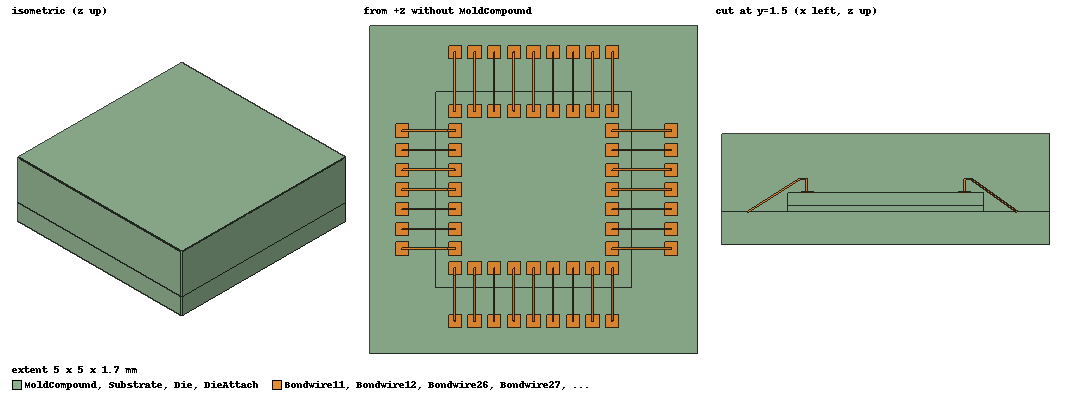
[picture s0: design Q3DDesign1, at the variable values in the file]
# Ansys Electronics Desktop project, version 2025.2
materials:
  vacuum: permittivity=1
  copper: permeability=0.999991 conductivity=58000000
  silicon: permittivity=11.9
  FR4_epoxy: permittivity=4.4 dielectric_loss_tangent=0.02
  modified_epoxy: permittivity=4.2 dielectric_loss_tangent=0.02
  gold: permeability=0.99996 conductivity=41000000
  epoxy_Kevlar_xy: permittivity=3.6

design Q3DDesign1 (Q3D Extractor, model units mm)
options: SParamCalcMethod=EqTransLine Calculate_Lossy_Dielectrics
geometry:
  Die [silicon] = rectangle(corner=(0mm, 0mm, 0mm), x_size=3mm, y_size=3mm)
  Die.thicken(0.2mm)
  Substrate [FR4_epoxy] = rectangle(corner=(-1mm, -1mm, -0.1mm), x_size=5mm, y_size=5mm)
  Substrate.thicken(-0.5mm)
  DieAttach [modified_epoxy] = rectangle(corner=(0mm, 0mm, 0mm), x_size=3mm, y_size=3mm)
  DieAttach.thicken(-0.1mm)
  Diebondpad1 [copper] = rectangle(corner=(0.2mm, 0.2mm, 0.2mm), x_size=0.2mm, y_size=0.2mm)
  Diebondpad1.thicken(0.005mm)
  Substratebondpad1 [copper] = rectangle(corner=(0.2mm, -0.6mm, -0.1mm), x_size=0.2mm, y_size=0.2mm)
  Substratebondpad1.thicken(0.005mm)
  Bondwire1 [gold] = bondwire(WireType=JEDEC_4Points WireDiameter=0.025mm NumSides=6 XPadPos=0.3mm YPadPos=0.3mm ZPadPos=0.205mm XDir=0mm YDir=-0.8mm ZDir=0mm Distance=0.8mm h1=0.2mm h2=0.3mm alpha=80deg beta=0 WhichAxis=Z)
  Diebondpad2 [copper] = rectangle(corner=(0.5mm, 0.2mm, 0.2mm), x_size=0.2mm, y_size=0.2mm)
  Diebondpad2.thicken(0.005mm)
  Diebondpad3 [copper] = rectangle(corner=(0.8mm, 0.2mm, 0.2mm), x_size=0.2mm, y_size=0.2mm)
  Diebondpad3.thicken(0.005mm)
  Diebondpad4 [copper] = rectangle(corner=(1.1mm, 0.2mm, 0.2mm), x_size=0.2mm, y_size=0.2mm)
  Diebondpad4.thicken(0.005mm)
  Diebondpad5 [copper] = rectangle(corner=(1.4mm, 0.2mm, 0.2mm), x_size=0.2mm, y_size=0.2mm)
  Diebondpad5.thicken(0.005mm)
  Diebondpad6 [copper] = rectangle(corner=(1.7mm, 0.2mm, 0.2mm), x_size=0.2mm, y_size=0.2mm)
  Diebondpad6.thicken(0.005mm)
  Diebondpad7 [copper] = rectangle(corner=(2mm, 0.2mm, 0.2mm), x_size=0.2mm, y_size=0.2mm)
  Diebondpad7.thicken(0.005mm)
  Diebondpad8 [copper] = rectangle(corner=(2.3mm, 0.2mm, 0.2mm), x_size=0.2mm, y_size=0.2mm)
  Diebondpad8.thicken(0.005mm)
  Diebondpad9 [copper] = rectangle(corner=(2.6mm, 0.2mm, 0.2mm), x_size=0.2mm, y_size=0.2mm)
  Diebondpad9.thicken(0.005mm)
  Substratebondpad2 [copper] = rectangle(corner=(0.5mm, -0.6mm, -0.1mm), x_size=0.2mm, y_size=0.2mm)
  Substratebondpad2.thicken(0.005mm)
  Substratebondpad3 [copper] = rectangle(corner=(0.8mm, -0.6mm, -0.1mm), x_size=0.2mm, y_size=0.2mm)
  Substratebondpad3.thicken(0.005mm)
  Substratebondpad4 [copper] = rectangle(corner=(1.1mm, -0.6mm, -0.1mm), x_size=0.2mm, y_size=0.2mm)
  Substratebondpad4.thicken(0.005mm)
  Substratebondpad5 [copper] = rectangle(corner=(1.4mm, -0.6mm, -0.1mm), x_size=0.2mm, y_size=0.2mm)
  Substratebondpad5.thicken(0.005mm)
  Substratebondpad6 [copper] = rectangle(corner=(1.7mm, -0.6mm, -0.1mm), x_size=0.2mm, y_size=0.2mm)
  Substratebondpad6.thicken(0.005mm)
  Substratebondpad7 [copper] = rectangle(corner=(2mm, -0.6mm, -0.1mm), x_size=0.2mm, y_size=0.2mm)
  Substratebondpad7.thicken(0.005mm)
  Substratebondpad8 [copper] = rectangle(corner=(2.3mm, -0.6mm, -0.1mm), x_size=0.2mm, y_size=0.2mm)
  Substratebondpad8.thicken(0.005mm)
  Substratebondpad9 [copper] = rectangle(corner=(2.6mm, -0.6mm, -0.1mm), x_size=0.2mm, y_size=0.2mm)
  Substratebondpad9.thicken(0.005mm)
  Bondwire2 [gold] = bondwire(WireType=JEDEC_4Points WireDiameter=0.025mm NumSides=6 XPadPos=0.6mm YPadPos=0.3mm ZPadPos=0.205mm XDir=0mm YDir=-0.8mm ZDir=0mm Distance=0.8mm h1=0.2mm h2=0.3mm alpha=80deg beta=0 WhichAxis=Z)
  Bondwire3 [gold] = bondwire(WireType=JEDEC_4Points WireDiameter=0.025mm NumSides=6 XPadPos=0.9mm YPadPos=0.3mm ZPadPos=0.205mm XDir=0mm YDir=-0.8mm ZDir=0mm Distance=0.8mm h1=0.2mm h2=0.3mm alpha=80deg beta=0 WhichAxis=Z)
  Bondwire4 [gold] = bondwire(WireType=JEDEC_4Points WireDiameter=0.025mm NumSides=6 XPadPos=1.2mm YPadPos=0.3mm ZPadPos=0.205mm XDir=0mm YDir=-0.8mm ZDir=0mm Distance=0.8mm h1=0.2mm h2=0.3mm alpha=80deg beta=0 WhichAxis=Z)
  Bondwire5 [gold] = bondwire(WireType=JEDEC_4Points WireDiameter=0.025mm NumSides=6 XPadPos=1.5mm YPadPos=0.3mm ZPadPos=0.205mm XDir=0mm YDir=-0.8mm ZDir=0mm Distance=0.8mm h1=0.2mm h2=0.3mm alpha=80deg beta=0 WhichAxis=Z)
  Bondwire6 [gold] = bondwire(WireType=JEDEC_4Points WireDiameter=0.025mm NumSides=6 XPadPos=1.8mm YPadPos=0.3mm ZPadPos=0.205mm XDir=0mm YDir=-0.8mm ZDir=0mm Distance=0.8mm h1=0.2mm h2=0.3mm alpha=80deg beta=0 WhichAxis=Z)
  Bondwire7 [gold] = bondwire(WireType=JEDEC_4Points WireDiameter=0.025mm NumSides=6 XPadPos=2.1mm YPadPos=0.3mm ZPadPos=0.205mm XDir=0mm YDir=-0.8mm ZDir=0mm Distance=0.8mm h1=0.2mm h2=0.3mm alpha=80deg beta=0 WhichAxis=Z)
  Bondwire8 [gold] = bondwire(WireType=JEDEC_4Points WireDiameter=0.025mm NumSides=6 XPadPos=2.4mm YPadPos=0.3mm ZPadPos=0.205mm XDir=0mm YDir=-0.8mm ZDir=0mm Distance=0.8mm h1=0.2mm h2=0.3mm alpha=80deg beta=0 WhichAxis=Z)
  Bondwire9 [gold] = bondwire(WireType=JEDEC_4Points WireDiameter=0.025mm NumSides=6 XPadPos=2.7mm YPadPos=0.3mm ZPadPos=0.205mm XDir=0mm YDir=-0.8mm ZDir=0mm Distance=0.8mm h1=0.2mm h2=0.3mm alpha=80deg beta=0 WhichAxis=Z)
  Diebondpad10 [copper] = rectangle(corner=(0.2mm, 0.5mm, 0.2mm), x_size=0.2mm, y_size=0.2mm)
  Diebondpad10.thicken(0.005mm)
  Diebondpad11 [copper] = rectangle(corner=(0.2mm, 0.8mm, 0.2mm), x_size=0.2mm, y_size=0.2mm)
  Diebondpad11.thicken(0.005mm)
  Diebondpad12 [copper] = rectangle(corner=(0.2mm, 1.1mm, 0.2mm), x_size=0.2mm, y_size=0.2mm)
  Diebondpad12.thicken(0.005mm)
  Diebondpad13 [copper] = rectangle(corner=(0.2mm, 1.4mm, 0.2mm), x_size=0.2mm, y_size=0.2mm)
  Diebondpad13.thicken(0.005mm)
  Diebondpad14 [copper] = rectangle(corner=(0.2mm, 1.7mm, 0.2mm), x_size=0.2mm, y_size=0.2mm)
  Diebondpad14.thicken(0.005mm)
  Diebondpad15 [copper] = rectangle(corner=(0.2mm, 2mm, 0.2mm), x_size=0.2mm, y_size=0.2mm)
  Diebondpad15.thicken(0.005mm)
  Diebondpad16 [copper] = rectangle(corner=(0.2mm, 2.3mm, 0.2mm), x_size=0.2mm, y_size=0.2mm)
  Diebondpad16.thicken(0.005mm)
  Diebondpad17 [copper] = rectangle(corner=(0.2mm, 2.6mm, 0.2mm), x_size=0.2mm, y_size=0.2mm)
  Diebondpad17.thicken(0.005mm)
  Diebondpad18 [copper] = rectangle(corner=(0.5mm, 2.6mm, 0.2mm), x_size=0.2mm, y_size=0.2mm)
  Diebondpad18.thicken(0.005mm)
  Diebondpad19 [copper] = rectangle(corner=(0.8mm, 2.6mm, 0.2mm), x_size=0.2mm, y_size=0.2mm)
  Diebondpad19.thicken(0.005mm)
  Diebondpad20 [copper] = rectangle(corner=(1.1mm, 2.6mm, 0.2mm), x_size=0.2mm, y_size=0.2mm)
  Diebondpad20.thicken(0.005mm)
  Diebondpad21 [copper] = rectangle(corner=(1.4mm, 2.6mm, 0.2mm), x_size=0.2mm, y_size=0.2mm)
  Diebondpad21.thicken(0.005mm)
  Diebondpad22 [copper] = rectangle(corner=(1.7mm, 2.6mm, 0.2mm), x_size=0.2mm, y_size=0.2mm)
  Diebondpad22.thicken(0.005mm)
  Diebondpad23 [copper] = rectangle(corner=(2mm, 2.6mm, 0.2mm), x_size=0.2mm, y_size=0.2mm)
  Diebondpad23.thicken(0.005mm)
  Diebondpad24 [copper] = rectangle(corner=(2.3mm, 2.6mm, 0.2mm), x_size=0.2mm, y_size=0.2mm)
  Diebondpad24.thicken(0.005mm)
  Diebondpad25 [copper] = rectangle(corner=(2.6mm, 2.6mm, 0.2mm), x_size=0.2mm, y_size=0.2mm)
  Diebondpad25.thicken(0.005mm)
  Diebondpad26 [copper] = rectangle(corner=(2.6mm, 2.3mm, 0.2mm), x_size=0.2mm, y_size=0.2mm)
  Diebondpad26.thicken(0.005mm)
  Diebondpad27 [copper] = rectangle(corner=(2.6mm, 2mm, 0.2mm), x_size=0.2mm, y_size=0.2mm)
  Diebondpad27.thicken(0.005mm)
  Diebondpad28 [copper] = rectangle(corner=(2.6mm, 1.7mm, 0.2mm), x_size=0.2mm, y_size=0.2mm)
  Diebondpad28.thicken(0.005mm)
  Diebondpad29 [copper] = rectangle(corner=(2.6mm, 1.4mm, 0.2mm), x_size=0.2mm, y_size=0.2mm)
  Diebondpad29.thicken(0.005mm)
  Diebondpad30 [copper] = rectangle(corner=(2.6mm, 1.1mm, 0.2mm), x_size=0.2mm, y_size=0.2mm)
  Diebondpad30.thicken(0.005mm)
  Diebondpad31 [copper] = rectangle(corner=(2.6mm, 0.8mm, 0.2mm), x_size=0.2mm, y_size=0.2mm)
  Diebondpad31.thicken(0.005mm)
  Diebondpad32 [copper] = rectangle(corner=(2.6mm, 0.5mm, 0.2mm), x_size=0.2mm, y_size=0.2mm)
  Diebondpad32.thicken(0.005mm)
  Substratebondpad10 [copper] = rectangle(corner=(0.2mm, 3.5mm, -0.1mm), x_size=0.2mm, y_size=0.2mm)
  Substratebondpad10.thicken(0.005mm)
  Substratebondpad11 [copper] = rectangle(corner=(0.5mm, 3.5mm, -0.1mm), x_size=0.2mm, y_size=0.2mm)
  Substratebondpad11.thicken(0.005mm)
  Substratebondpad12 [copper] = rectangle(corner=(0.8mm, 3.5mm, -0.1mm), x_size=0.2mm, y_size=0.2mm)
  Substratebondpad12.thicken(0.005mm)
  Substratebondpad13 [copper] = rectangle(corner=(1.1mm, 3.5mm, -0.1mm), x_size=0.2mm, y_size=0.2mm)
  Substratebondpad13.thicken(0.005mm)
  Substratebondpad14 [copper] = rectangle(corner=(1.4mm, 3.5mm, -0.1mm), x_size=0.2mm, y_size=0.2mm)
  Substratebondpad14.thicken(0.005mm)
  Substratebondpad15 [copper] = rectangle(corner=(1.7mm, 3.5mm, -0.1mm), x_size=0.2mm, y_size=0.2mm)
  Substratebondpad15.thicken(0.005mm)
  Substratebondpad16 [copper] = rectangle(corner=(2mm, 3.5mm, -0.1mm), x_size=0.2mm, y_size=0.2mm)
  Substratebondpad16.thicken(0.005mm)
  Substratebondpad17 [copper] = rectangle(corner=(2.3mm, 3.5mm, -0.1mm), x_size=0.2mm, y_size=0.2mm)
  Substratebondpad17.thicken(0.005mm)
  Substratebondpad18 [copper] = rectangle(corner=(2.6mm, 3.5mm, -0.1mm), x_size=0.2mm, y_size=0.2mm)
  Substratebondpad18.thicken(0.005mm)
  Substratebondpad19 [copper] = rectangle(corner=(3.5mm, 2.3mm, -0.1mm), x_size=0.2mm, y_size=0.2mm)
  Substratebondpad19.thicken(0.005mm)
  Substratebondpad20 [copper] = rectangle(corner=(3.5mm, 2mm, -0.1mm), x_size=0.2mm, y_size=0.2mm)
  Substratebondpad20.thicken(0.005mm)
  Substratebondpad21 [copper] = rectangle(corner=(3.5mm, 1.7mm, -0.1mm), x_size=0.2mm, y_size=0.2mm)
  Substratebondpad21.thicken(0.005mm)
  Substratebondpad22 [copper] = rectangle(corner=(3.5mm, 1.4mm, -0.1mm), x_size=0.2mm, y_size=0.2mm)
  Substratebondpad22.thicken(0.005mm)
  Substratebondpad23 [copper] = rectangle(corner=(3.5mm, 1.1mm, -0.1mm), x_size=0.2mm, y_size=0.2mm)
  Substratebondpad23.thicken(0.005mm)
  Substratebondpad24 [copper] = rectangle(corner=(3.5mm, 0.8mm, -0.1mm), x_size=0.2mm, y_size=0.2mm)
  Substratebondpad24.thicken(0.005mm)
  Substratebondpad25 [copper] = rectangle(corner=(3.5mm, 0.5mm, -0.1mm), x_size=0.2mm, y_size=0.2mm)
  Substratebondpad25.thicken(0.005mm)
  Substratebondpad26 [copper] = rectangle(corner=(-0.6mm, 2.3mm, -0.1mm), x_size=0.2mm, y_size=0.2mm)
  Substratebondpad26.thicken(0.005mm)
  Substratebondpad27 [copper] = rectangle(corner=(-0.6mm, 2mm, -0.1mm), x_size=0.2mm, y_size=0.2mm)
  Substratebondpad27.thicken(0.005mm)
  Substratebondpad28 [copper] = rectangle(corner=(-0.6mm, 1.7mm, -0.1mm), x_size=0.2mm, y_size=0.2mm)
  Substratebondpad28.thicken(0.005mm)
  Substratebondpad29 [copper] = rectangle(corner=(-0.6mm, 1.4mm, -0.1mm), x_size=0.2mm, y_size=0.2mm)
  Substratebondpad29.thicken(0.005mm)
  Substratebondpad30 [copper] = rectangle(corner=(-0.6mm, 1.1mm, -0.1mm), x_size=0.2mm, y_size=0.2mm)
  Substratebondpad30.thicken(0.005mm)
  Substratebondpad31 [copper] = rectangle(corner=(-0.6mm, 0.8mm, -0.1mm), x_size=0.2mm, y_size=0.2mm)
  Substratebondpad31.thicken(0.005mm)
  Substratebondpad32 [copper] = rectangle(corner=(-0.6mm, 0.5mm, -0.1mm), x_size=0.2mm, y_size=0.2mm)
  Substratebondpad32.thicken(0.005mm)
  Bondwire10 [copper] = bondwire(WireType=JEDEC_4Points WireDiameter=0.025mm NumSides=6 XPadPos=0.3mm YPadPos=2.7mm ZPadPos=0.205mm XDir=0mm YDir=0.9mm ZDir=0mm Distance=0.9mm h1=0.2mm h2=0.3mm alpha=80deg beta=0 WhichAxis=Z)
  Bondwire11 [copper] = bondwire(WireType=JEDEC_4Points WireDiameter=0.025mm NumSides=6 XPadPos=0.6mm YPadPos=2.7mm ZPadPos=0.205mm XDir=0mm YDir=0.9mm ZDir=0mm Distance=0.9mm h1=0.2mm h2=0.3mm alpha=80deg beta=0 WhichAxis=Z)
  Bondwire12 [copper] = bondwire(WireType=JEDEC_4Points WireDiameter=0.025mm NumSides=6 XPadPos=0.9mm YPadPos=2.7mm ZPadPos=0.205mm XDir=0mm YDir=0.9mm ZDir=0mm Distance=0.9mm h1=0.2mm h2=0.3mm alpha=80deg beta=0 WhichAxis=Z)
  Bondwire13 [copper] = bondwire(WireType=JEDEC_4Points WireDiameter=0.025mm NumSides=6 XPadPos=1.2mm YPadPos=2.7mm ZPadPos=0.205mm XDir=0mm YDir=0.9mm ZDir=0mm Distance=0.9mm h1=0.2mm h2=0.3mm alpha=80deg beta=0 WhichAxis=Z)
  Bondwire14 [copper] = bondwire(WireType=JEDEC_4Points WireDiameter=0.025mm NumSides=6 XPadPos=1.5mm YPadPos=2.7mm ZPadPos=0.205mm XDir=0mm YDir=0.9mm ZDir=0mm Distance=0.9mm h1=0.2mm h2=0.3mm alpha=80deg beta=0 WhichAxis=Z)
  Bondwire15 [copper] = bondwire(WireType=JEDEC_4Points WireDiameter=0.025mm NumSides=6 XPadPos=1.8mm YPadPos=2.7mm ZPadPos=0.205mm XDir=0mm YDir=0.9mm ZDir=0mm Distance=0.9mm h1=0.2mm h2=0.3mm alpha=80deg beta=0 WhichAxis=Z)
  Bondwire16 [copper] = bondwire(WireType=JEDEC_4Points WireDiameter=0.025mm NumSides=6 XPadPos=2.1mm YPadPos=2.7mm ZPadPos=0.205mm XDir=0mm YDir=0.9mm ZDir=0mm Distance=0.9mm h1=0.2mm h2=0.3mm alpha=80deg beta=0 WhichAxis=Z)
  Bondwire17 [copper] = bondwire(WireType=JEDEC_4Points WireDiameter=0.025mm NumSides=6 XPadPos=2.4mm YPadPos=2.7mm ZPadPos=0.205mm XDir=0mm YDir=0.9mm ZDir=0mm Distance=0.9mm h1=0.2mm h2=0.3mm alpha=80deg beta=0 WhichAxis=Z)
  Bondwire18 [copper] = bondwire(WireType=JEDEC_4Points WireDiameter=0.025mm NumSides=6 XPadPos=2.7mm YPadPos=2.7mm ZPadPos=0.205mm XDir=0mm YDir=0.9mm ZDir=0mm Distance=0.9mm h1=0.2mm h2=0.3mm alpha=80deg beta=0 WhichAxis=Z)
  Bondwire19 [copper] = bondwire(WireType=JEDEC_4Points WireDiameter=0.025mm NumSides=6 XPadPos=0.3mm YPadPos=2.4mm ZPadPos=0.205mm XDir=-0.8mm YDir=0mm ZDir=0mm Distance=0.8mm h1=0.2mm h2=0.3mm alpha=80deg beta=0 WhichAxis=Z)
  Bondwire20 [copper] = bondwire(WireType=JEDEC_4Points WireDiameter=0.025mm NumSides=6 XPadPos=0.3mm YPadPos=2.1mm ZPadPos=0.205mm XDir=-0.8mm YDir=0mm ZDir=0mm Distance=0.8mm h1=0.2mm h2=0.3mm alpha=80deg beta=0 WhichAxis=Z)
  Bondwire21 [copper] = bondwire(WireType=JEDEC_4Points WireDiameter=0.025mm NumSides=6 XPadPos=0.3mm YPadPos=1.8mm ZPadPos=0.205mm XDir=-0.8mm YDir=0mm ZDir=0mm Distance=0.8mm h1=0.2mm h2=0.3mm alpha=80deg beta=0 WhichAxis=Z)
  Bondwire22 [copper] = bondwire(WireType=JEDEC_4Points WireDiameter=0.025mm NumSides=6 XPadPos=0.3mm YPadPos=1.5mm ZPadPos=0.205mm XDir=-0.8mm YDir=0mm ZDir=0mm Distance=0.8mm h1=0.2mm h2=0.3mm alpha=80deg beta=0 WhichAxis=Z)
  Bondwire23 [copper] = bondwire(WireType=JEDEC_4Points WireDiameter=0.025mm NumSides=6 XPadPos=0.3mm YPadPos=1.2mm ZPadPos=0.205mm XDir=-0.8mm YDir=0mm ZDir=0mm Distance=0.8mm h1=0.2mm h2=0.3mm alpha=80deg beta=0 WhichAxis=Z)
  Bondwire24 [copper] = bondwire(WireType=JEDEC_4Points WireDiameter=0.025mm NumSides=6 XPadPos=0.3mm YPadPos=0.9mm ZPadPos=0.205mm XDir=-0.8mm YDir=0mm ZDir=0mm Distance=0.8mm h1=0.2mm h2=0.3mm alpha=80deg beta=0 WhichAxis=Z)
  Bondwire25 [copper] = bondwire(WireType=JEDEC_4Points WireDiameter=0.025mm NumSides=6 XPadPos=0.3mm YPadPos=0.6mm ZPadPos=0.205mm XDir=-0.8mm YDir=0mm ZDir=0mm Distance=0.8mm h1=0.2mm h2=0.3mm alpha=80deg beta=0 WhichAxis=Z)
  Bondwire26 [copper] = bondwire(WireType=JEDEC_4Points WireDiameter=0.025mm NumSides=6 XPadPos=2.7mm YPadPos=0.6mm ZPadPos=0.205mm XDir=0.9mm YDir=0mm ZDir=0mm Distance=0.9mm h1=0.2mm h2=0.3mm alpha=80deg beta=0 WhichAxis=Z)
  Bondwire27 [copper] = bondwire(WireType=JEDEC_4Points WireDiameter=0.025mm NumSides=6 XPadPos=2.7mm YPadPos=0.9mm ZPadPos=0.205mm XDir=0.9mm YDir=0mm ZDir=0mm Distance=0.9mm h1=0.2mm h2=0.3mm alpha=80deg beta=0 WhichAxis=Z)
  Bondwire28 [copper] = bondwire(WireType=JEDEC_4Points WireDiameter=0.025mm NumSides=6 XPadPos=2.7mm YPadPos=1.2mm ZPadPos=0.205mm XDir=0.9mm YDir=0mm ZDir=0mm Distance=0.9mm h1=0.2mm h2=0.3mm alpha=80deg beta=0 WhichAxis=Z)
  Bondwire29 [copper] = bondwire(WireType=JEDEC_4Points WireDiameter=0.025mm NumSides=6 XPadPos=2.7mm YPadPos=1.5mm ZPadPos=0.205mm XDir=0.9mm YDir=0mm ZDir=0mm Distance=0.9mm h1=0.2mm h2=0.3mm alpha=80deg beta=0 WhichAxis=Z)
  Bondwire30 [copper] = bondwire(WireType=JEDEC_4Points WireDiameter=0.025mm NumSides=6 XPadPos=2.7mm YPadPos=1.8mm ZPadPos=0.205mm XDir=0.9mm YDir=0mm ZDir=0mm Distance=0.9mm h1=0.2mm h2=0.3mm alpha=80deg beta=0 WhichAxis=Z)
  Bondwire31 [copper] = bondwire(WireType=JEDEC_4Points WireDiameter=0.025mm NumSides=6 XPadPos=2.7mm YPadPos=2.1mm ZPadPos=0.205mm XDir=0.9mm YDir=0mm ZDir=0mm Distance=0.9mm h1=0.2mm h2=0.3mm alpha=80deg beta=0 WhichAxis=Z)
  Bondwire32 [copper] = bondwire(WireType=JEDEC_4Points WireDiameter=0.025mm NumSides=6 XPadPos=2.7mm YPadPos=2.4mm ZPadPos=0.205mm XDir=0.9mm YDir=0mm ZDir=0mm Distance=0.9mm h1=0.2mm h2=0.3mm alpha=80deg beta=0 WhichAxis=Z)
  MoldCompound [epoxy_Kevlar_xy] = rectangle(corner=(-1mm, -1mm, -0.1mm), x_size=5mm, y_size=5mm)
  MoldCompound.thicken(1.2mm)
